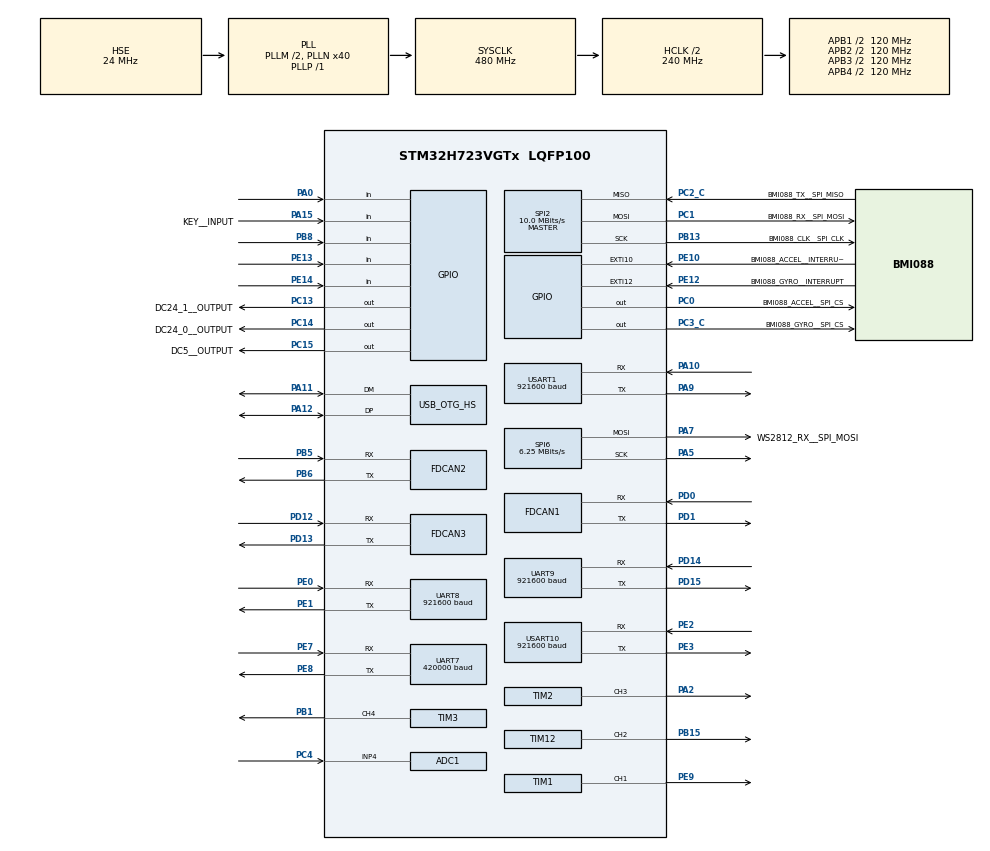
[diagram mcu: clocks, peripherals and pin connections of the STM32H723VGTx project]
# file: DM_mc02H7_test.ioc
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ADC1.Channel-0\#ChannelRegularConversion=ADC_CHANNEL_4
ADC1.NbrOfConversionFlag=1
ADC1.OffsetNumber-0\#ChannelRegularConversion=ADC_OFFSET_NONE
ADC1.OffsetSignedSaturation-0\#ChannelRegularConversion=DISABLE
ADC1.Rank-0\#ChannelRegularConversion=1
ADC1.SamplingTime-0\#ChannelRegularConversion=ADC_SAMPLETIME_1CYCLE_5
ADC1.master=1
CORTEX_M7.CPU_ICache=Enabled
CORTEX_M7.MPU_Control=__NULL
CORTEX_M7.default_mode_Activation=1
Dma.Request0=SPI2_TX
Dma.Request1=SPI2_RX
Dma.Request2=UART7_TX
Dma.Request3=UART7_RX
Dma.Request4=USART1_TX
Dma.Request5=USART10_RX
Dma.Request6=USART10_TX
Dma.Request7=USART1_RX
Dma.Request8=UART8_RX
Dma.Request9=UART9_RX
Dma.SPI2_RX.1.Direction=DMA_PERIPH_TO_MEMORY
Dma.SPI2_RX.1.EventEnable=DISABLE
Dma.SPI2_RX.1.FIFOMode=DMA_FIFOMODE_ENABLE
Dma.SPI2_RX.1.FIFOThreshold=DMA_FIFO_THRESHOLD_FULL
Dma.SPI2_RX.1.Instance=DMA1_Stream1
Dma.SPI2_RX.1.MemBurst=DMA_MBURST_SINGLE
Dma.SPI2_RX.1.MemDataAlignment=DMA_MDATAALIGN_BYTE
Dma.SPI2_RX.1.MemInc=DMA_MINC_ENABLE
Dma.SPI2_RX.1.Mode=DMA_NORMAL
Dma.SPI2_RX.1.PeriphBurst=DMA_PBURST_SINGLE
Dma.SPI2_RX.1.PeriphDataAlignment=DMA_PDATAALIGN_BYTE
Dma.SPI2_RX.1.PeriphInc=DMA_PINC_DISABLE
Dma.SPI2_RX.1.Polarity=HAL_DMAMUX_REQ_GEN_RISING
Dma.SPI2_RX.1.Priority=DMA_PRIORITY_LOW
Dma.SPI2_RX.1.RequestNumber=1
Dma.SPI2_RX.1.SignalID=NONE
Dma.SPI2_RX.1.SyncEnable=DISABLE
Dma.SPI2_RX.1.SyncPolarity=HAL_DMAMUX_SYNC_NO_EVENT
Dma.SPI2_RX.1.SyncRequestNumber=1
Dma.SPI2_RX.1.SyncSignalID=NONE
Dma.SPI2_TX.0.Direction=DMA_MEMORY_TO_PERIPH
Dma.SPI2_TX.0.EventEnable=DISABLE
Dma.SPI2_TX.0.FIFOMode=DMA_FIFOMODE_DISABLE
Dma.SPI2_TX.0.Instance=DMA1_Stream0
Dma.SPI2_TX.0.MemDataAlignment=DMA_MDATAALIGN_BYTE
Dma.SPI2_TX.0.MemInc=DMA_MINC_ENABLE
Dma.SPI2_TX.0.Mode=DMA_NORMAL
Dma.SPI2_TX.0.PeriphDataAlignment=DMA_PDATAALIGN_BYTE
Dma.SPI2_TX.0.PeriphInc=DMA_PINC_DISABLE
Dma.SPI2_TX.0.Polarity=HAL_DMAMUX_REQ_GEN_RISING
Dma.SPI2_TX.0.Priority=DMA_PRIORITY_LOW
Dma.SPI2_TX.0.RequestNumber=1
Dma.SPI2_TX.0.SignalID=NONE
Dma.SPI2_TX.0.SyncEnable=DISABLE
Dma.SPI2_TX.0.SyncPolarity=HAL_DMAMUX_SYNC_NO_EVENT
Dma.SPI2_TX.0.SyncRequestNumber=1
Dma.SPI2_TX.0.SyncSignalID=NONE
Dma.UART7_RX.3.Direction=DMA_PERIPH_TO_MEMORY
Dma.UART7_RX.3.EventEnable=DISABLE
Dma.UART7_RX.3.FIFOMode=DMA_FIFOMODE_DISABLE
Dma.UART7_RX.3.Instance=DMA1_Stream3
Dma.UART7_RX.3.MemDataAlignment=DMA_MDATAALIGN_BYTE
Dma.UART7_RX.3.MemInc=DMA_MINC_ENABLE
Dma.UART7_RX.3.Mode=DMA_NORMAL
Dma.UART7_RX.3.PeriphDataAlignment=DMA_PDATAALIGN_BYTE
Dma.UART7_RX.3.PeriphInc=DMA_PINC_DISABLE
Dma.UART7_RX.3.Polarity=HAL_DMAMUX_REQ_GEN_RISING
Dma.UART7_RX.3.Priority=DMA_PRIORITY_LOW
Dma.UART7_RX.3.RequestNumber=1
Dma.UART7_RX.3.SignalID=NONE
Dma.UART7_RX.3.SyncEnable=DISABLE
Dma.UART7_RX.3.SyncPolarity=HAL_DMAMUX_SYNC_NO_EVENT
Dma.UART7_RX.3.SyncRequestNumber=1
Dma.UART7_RX.3.SyncSignalID=NONE
Dma.UART7_TX.2.Direction=DMA_MEMORY_TO_PERIPH
Dma.UART7_TX.2.EventEnable=DISABLE
Dma.UART7_TX.2.FIFOMode=DMA_FIFOMODE_ENABLE
Dma.UART7_TX.2.FIFOThreshold=DMA_FIFO_THRESHOLD_FULL
Dma.UART7_TX.2.Instance=DMA1_Stream2
Dma.UART7_TX.2.MemBurst=DMA_MBURST_SINGLE
Dma.UART7_TX.2.MemDataAlignment=DMA_MDATAALIGN_BYTE
Dma.UART7_TX.2.MemInc=DMA_MINC_ENABLE
Dma.UART7_TX.2.Mode=DMA_NORMAL
Dma.UART7_TX.2.PeriphBurst=DMA_PBURST_SINGLE
Dma.UART7_TX.2.PeriphDataAlignment=DMA_PDATAALIGN_BYTE
Dma.UART7_TX.2.PeriphInc=DMA_PINC_DISABLE
Dma.UART7_TX.2.Polarity=HAL_DMAMUX_REQ_GEN_RISING
Dma.UART7_TX.2.Priority=DMA_PRIORITY_LOW
Dma.UART7_TX.2.RequestNumber=1
Dma.UART7_TX.2.SignalID=NONE
Dma.UART7_TX.2.SyncEnable=DISABLE
Dma.UART7_TX.2.SyncPolarity=HAL_DMAMUX_SYNC_NO_EVENT
Dma.UART7_TX.2.SyncRequestNumber=1
Dma.UART7_TX.2.SyncSignalID=NONE
Dma.UART8_RX.8.Direction=DMA_PERIPH_TO_MEMORY
Dma.UART8_RX.8.EventEnable=DISABLE
Dma.UART8_RX.8.FIFOMode=DMA_FIFOMODE_DISABLE
Dma.UART8_RX.8.Instance=DMA1_Stream4
Dma.UART8_RX.8.MemDataAlignment=DMA_MDATAALIGN_BYTE
Dma.UART8_RX.8.MemInc=DMA_MINC_ENABLE
Dma.UART8_RX.8.Mode=DMA_NORMAL
Dma.UART8_RX.8.PeriphDataAlignment=DMA_PDATAALIGN_BYTE
Dma.UART8_RX.8.PeriphInc=DMA_PINC_DISABLE
Dma.UART8_RX.8.Polarity=HAL_DMAMUX_REQ_GEN_RISING
Dma.UART8_RX.8.Priority=DMA_PRIORITY_LOW
Dma.UART8_RX.8.RequestNumber=1
Dma.UART8_RX.8.SignalID=NONE
Dma.UART8_RX.8.SyncEnable=DISABLE
Dma.UART8_RX.8.SyncPolarity=HAL_DMAMUX_SYNC_NO_EVENT
Dma.UART8_RX.8.SyncRequestNumber=1
Dma.UART8_RX.8.SyncSignalID=NONE
Dma.UART9_RX.9.Direction=DMA_PERIPH_TO_MEMORY
Dma.UART9_RX.9.EventEnable=DISABLE
Dma.UART9_RX.9.FIFOMode=DMA_FIFOMODE_DISABLE
Dma.UART9_RX.9.Instance=DMA1_Stream5
Dma.UART9_RX.9.MemDataAlignment=DMA_MDATAALIGN_BYTE
Dma.UART9_RX.9.MemInc=DMA_MINC_ENABLE
Dma.UART9_RX.9.Mode=DMA_NORMAL
Dma.UART9_RX.9.PeriphDataAlignment=DMA_PDATAALIGN_BYTE
Dma.UART9_RX.9.PeriphInc=DMA_PINC_DISABLE
Dma.UART9_RX.9.Polarity=HAL_DMAMUX_REQ_GEN_RISING
Dma.UART9_RX.9.Priority=DMA_PRIORITY_LOW
Dma.UART9_RX.9.RequestNumber=1
Dma.UART9_RX.9.SignalID=NONE
Dma.UART9_RX.9.SyncEnable=DISABLE
Dma.UART9_RX.9.SyncPolarity=HAL_DMAMUX_SYNC_NO_EVENT
Dma.UART9_RX.9.SyncRequestNumber=1
Dma.UART9_RX.9.SyncSignalID=NONE
Dma.USART10_RX.5.Direction=DMA_PERIPH_TO_MEMORY
Dma.USART10_RX.5.EventEnable=DISABLE
Dma.USART10_RX.5.FIFOMode=DMA_FIFOMODE_DISABLE
Dma.USART10_RX.5.Instance=DMA2_Stream1
Dma.USART10_RX.5.MemDataAlignment=DMA_MDATAALIGN_BYTE
Dma.USART10_RX.5.MemInc=DMA_MINC_ENABLE
Dma.USART10_RX.5.Mode=DMA_NORMAL
Dma.USART10_RX.5.PeriphDataAlignment=DMA_PDATAALIGN_BYTE
Dma.USART10_RX.5.PeriphInc=DMA_PINC_DISABLE
Dma.USART10_RX.5.Polarity=HAL_DMAMUX_REQ_GEN_RISING
Dma.USART10_RX.5.Priority=DMA_PRIORITY_LOW
Dma.USART10_RX.5.RequestNumber=1
Dma.USART10_RX.5.SignalID=NONE
Dma.USART10_RX.5.SyncEnable=DISABLE
Dma.USART10_RX.5.SyncPolarity=HAL_DMAMUX_SYNC_NO_EVENT
Dma.USART10_RX.5.SyncRequestNumber=1
Dma.USART10_RX.5.SyncSignalID=NONE
Dma.USART10_TX.6.Direction=DMA_MEMORY_TO_PERIPH
Dma.USART10_TX.6.EventEnable=DISABLE
Dma.USART10_TX.6.FIFOMode=DMA_FIFOMODE_DISABLE
Dma.USART10_TX.6.Instance=DMA2_Stream2
Dma.USART10_TX.6.MemDataAlignment=DMA_MDATAALIGN_BYTE
Dma.USART10_TX.6.MemInc=DMA_MINC_ENABLE
Dma.USART10_TX.6.Mode=DMA_NORMAL
Dma.USART10_TX.6.PeriphDataAlignment=DMA_PDATAALIGN_BYTE
Dma.USART10_TX.6.PeriphInc=DMA_PINC_DISABLE
Dma.USART10_TX.6.Polarity=HAL_DMAMUX_REQ_GEN_RISING
Dma.USART10_TX.6.Priority=DMA_PRIORITY_LOW
Dma.USART10_TX.6.RequestNumber=1
Dma.USART10_TX.6.SignalID=NONE
Dma.USART10_TX.6.SyncEnable=DISABLE
Dma.USART10_TX.6.SyncPolarity=HAL_DMAMUX_SYNC_NO_EVENT
Dma.USART10_TX.6.SyncRequestNumber=1
Dma.USART10_TX.6.SyncSignalID=NONE
Dma.USART1_RX.7.Direction=DMA_PERIPH_TO_MEMORY
Dma.USART1_RX.7.EventEnable=DISABLE
Dma.USART1_RX.7.FIFOMode=DMA_FIFOMODE_DISABLE
Dma.USART1_RX.7.Instance=DMA2_Stream5
Dma.USART1_RX.7.MemDataAlignment=DMA_MDATAALIGN_BYTE
Dma.USART1_RX.7.MemInc=DMA_MINC_ENABLE
Dma.USART1_RX.7.Mode=DMA_NORMAL
Dma.USART1_RX.7.PeriphDataAlignment=DMA_PDATAALIGN_BYTE
Dma.USART1_RX.7.PeriphInc=DMA_PINC_DISABLE
Dma.USART1_RX.7.Polarity=HAL_DMAMUX_REQ_GEN_RISING
Dma.USART1_RX.7.Priority=DMA_PRIORITY_LOW
Dma.USART1_RX.7.RequestNumber=1
Dma.USART1_RX.7.SignalID=NONE
Dma.USART1_RX.7.SyncEnable=DISABLE
Dma.USART1_RX.7.SyncPolarity=HAL_DMAMUX_SYNC_NO_EVENT
Dma.USART1_RX.7.SyncRequestNumber=1
Dma.USART1_RX.7.SyncSignalID=NONE
Dma.USART1_TX.4.Direction=DMA_MEMORY_TO_PERIPH
Dma.USART1_TX.4.EventEnable=DISABLE
Dma.USART1_TX.4.FIFOMode=DMA_FIFOMODE_DISABLE
Dma.USART1_TX.4.Instance=DMA1_Stream6
Dma.USART1_TX.4.MemDataAlignment=DMA_MDATAALIGN_BYTE
Dma.USART1_TX.4.MemInc=DMA_MINC_ENABLE
Dma.USART1_TX.4.Mode=DMA_NORMAL
Dma.USART1_TX.4.PeriphDataAlignment=DMA_PDATAALIGN_BYTE
Dma.USART1_TX.4.PeriphInc=DMA_PINC_DISABLE
Dma.USART1_TX.4.Polarity=HAL_DMAMUX_REQ_GEN_RISING
Dma.USART1_TX.4.Priority=DMA_PRIORITY_MEDIUM
Dma.USART1_TX.4.RequestNumber=1
Dma.USART1_TX.4.SignalID=NONE
Dma.USART1_TX.4.SyncEnable=DISABLE
Dma.USART1_TX.4.SyncPolarity=HAL_DMAMUX_SYNC_NO_EVENT
Dma.USART1_TX.4.SyncRequestNumber=1
Dma.USART1_TX.4.SyncSignalID=NONE
FDCAN1.AutoRetransmission=ENABLE
FDCAN1.CalculateBaudRateNominal=1000000
FDCAN1.CalculateTimeBitNominal=1000
FDCAN1.CalculateTimeQuantumNominal=25.0
FDCAN1.DataPrescaler=3
FDCAN1.DataSyncJumpWidth=10
FDCAN1.DataTimeSeg1=29
FDCAN1.DataTimeSeg2=10
FDCAN1.NominalPrescaler=3
FDCAN1.NominalSyncJumpWidth=10
FDCAN1.NominalTimeSeg1=29
FDCAN1.NominalTimeSeg2=10
FDCAN1.RxFifo0ElmtsNbr=16
FDCAN1.StdFiltersNbr=1
FDCAN1.TxFifoQueueElmtsNbr=8
FDCAN2.AutoRetransmission=ENABLE
FDCAN2.CalculateBaudRateNominal=1000000
FDCAN2.CalculateTimeBitNominal=1000
FDCAN2.CalculateTimeQuantumNominal=25.0
FDCAN2.DataPrescaler=3
FDCAN2.DataSyncJumpWidth=10
FDCAN2.DataTimeSeg1=29
FDCAN2.DataTimeSeg2=10
FDCAN2.MessageRAMOffset=853
FDCAN2.NominalPrescaler=3
FDCAN2.NominalSyncJumpWidth=10
FDCAN2.NominalTimeSeg1=29
FDCAN2.NominalTimeSeg2=10
FDCAN2.RxFifo0ElmtsNbr=16
FDCAN2.StdFiltersNbr=1
FDCAN2.TxFifoQueueElmtsNbr=8
FDCAN3.AutoRetransmission=ENABLE
FDCAN3.CalculateBaudRateNominal=1000000
FDCAN3.CalculateTimeBitNominal=1000
FDCAN3.CalculateTimeQuantumNominal=25.0
FDCAN3.DataPrescaler=3
FDCAN3.DataSyncJumpWidth=10
FDCAN3.DataTimeSeg1=29
FDCAN3.DataTimeSeg2=10
FDCAN3.MessageRAMOffset=853
FDCAN3.NominalPrescaler=3
FDCAN3.NominalSyncJumpWidth=10
FDCAN3.NominalTimeSeg1=29
FDCAN3.NominalTimeSeg2=10
FDCAN3.RxFifo0ElmtsNbr=16
FDCAN3.StdFiltersNbr=1
FDCAN3.TxFifoQueueElmtsNbr=8
FREERTOS.Tasks01=defaultTask,24,128,StartDefaultTask,Default,NULL,Dynamic,NULL,NULL;timestamp_test_,24,1024,Timestamp_fuc,As weak,NULL,Dynamic,NULL,NULL;Music_Task,8,128,MusicTask_func,As weak,NULL,Dynamic,NULL,NULL;DMControlTask,48,256,DMsetOutput,As weak,NULL,Dynamic,NULL,NULL;Remote_Task,24,256,tele_task,As weak,NULL,Dynamic,NULL,NULL;Chassis_Control,24,256,Chassis_Task,As weak,NULL,Dynamic,NULL,NULL;LiftControl_Tas,24,256,Lift_Task,As weak,NULL,Dynamic,NULL,NULL;ArmControl_Task,24,256,Arm_Task,As weak,NULL,Dynamic,NULL,NULL;Position_Task,16,128,Position_Control,As weak,NULL,Dynamic,NULL,NULL
Mcu.Family=STM32H7
Mcu.Name=STM32H723VGTx
Mcu.Package=LQFP100
NVIC.DMA1_Stream0_IRQn=true\:5\:0\:false\:false\:true\:true\:false\:true\:true
NVIC.DMA1_Stream1_IRQn=true\:5\:0\:false\:false\:true\:true\:false\:true\:true
NVIC.DMA1_Stream2_IRQn=true\:5\:0\:false\:false\:true\:true\:false\:true\:true
NVIC.DMA1_Stream3_IRQn=true\:5\:0\:false\:false\:true\:true\:false\:true\:true
NVIC.DMA1_Stream4_IRQn=true\:5\:0\:false\:false\:true\:true\:false\:true\:true
NVIC.DMA1_Stream5_IRQn=true\:5\:0\:false\:false\:true\:true\:false\:true\:true
NVIC.DMA1_Stream6_IRQn=true\:5\:0\:false\:false\:true\:false\:false\:true\:true
NVIC.DMA2_Stream1_IRQn=true\:5\:0\:false\:false\:true\:false\:false\:true\:true
NVIC.DMA2_Stream2_IRQn=true\:5\:0\:false\:false\:true\:false\:false\:true\:true
NVIC.DMA2_Stream5_IRQn=true\:5\:0\:false\:false\:true\:false\:false\:true\:true
NVIC.FDCAN1_IT0_IRQn=true\:5\:0\:false\:false\:true\:true\:true\:true\:true
NVIC.FDCAN1_IT1_IRQn=true\:5\:0\:false\:false\:true\:true\:true\:true\:true
NVIC.FDCAN2_IT0_IRQn=true\:5\:0\:false\:false\:true\:true\:true\:true\:true
NVIC.FDCAN2_IT1_IRQn=true\:5\:0\:false\:false\:true\:true\:true\:true\:true
NVIC.FDCAN3_IT0_IRQn=true\:5\:0\:false\:false\:true\:true\:true\:true\:true
NVIC.FDCAN3_IT1_IRQn=true\:5\:0\:false\:false\:true\:true\:true\:true\:true
NVIC.OTG_HS_IRQn=true\:5\:0\:false\:false\:true\:true\:true\:true\:true
NVIC.PriorityGroup=NVIC_PRIORITYGROUP_4
NVIC.SPI2_IRQn=true\:5\:0\:false\:false\:true\:true\:false\:true\:true
NVIC.TIM4_IRQn=true\:15\:0\:false\:false\:true\:false\:false\:true\:true
NVIC.TIM5_IRQn=true\:5\:0\:false\:false\:true\:true\:true\:true\:true
NVIC.TIM7_IRQn=true\:5\:0\:false\:false\:true\:true\:true\:true\:true
NVIC.TimeBase=TIM4_IRQn
NVIC.TimeBaseIP=TIM4
NVIC.UART7_IRQn=true\:5\:0\:false\:false\:true\:true\:true\:true\:true
NVIC.UART8_IRQn=true\:5\:0\:false\:false\:true\:true\:true\:true\:true
NVIC.UART9_IRQn=true\:5\:0\:false\:false\:true\:true\:true\:true\:true
NVIC.USART10_IRQn=true\:5\:0\:false\:false\:true\:true\:true\:true\:true
NVIC.USART1_IRQn=true\:5\:0\:false\:false\:true\:true\:true\:true\:true
PA0.Signal=GPIO_Input
PA10.Mode=Asynchronous
PA10.Signal=USART1_RX
PA11.Mode=Device_Only_FS
PA11.Signal=USB_OTG_HS_DM
PA12.Mode=Device_Only_FS
PA12.Signal=USB_OTG_HS_DP
PA13(JTMS/SWDIO).Mode=Serial_Wire
PA13(JTMS/SWDIO).Signal=DEBUG_JTMS-SWDIO
PA14(JTCK/SWCLK).Mode=Serial_Wire
PA14(JTCK/SWCLK).Signal=DEBUG_JTCK-SWCLK
PA15(JTDI).GPIO_Label=KEY__INPUT
PA15(JTDI).Signal=GPIO_Input
PA2.Signal=S_TIM2_CH3
PA5.GPIO_Mode=GPIO_MODE_AF_PP
PA5.GPIO_PuPd=GPIO_NOPULL
PA5.GPIO_Speed=GPIO_SPEED_FREQ_VERY_HIGH
PA5.Mode=TX_Only_Simplex_Unidirect_Master
PA5.Signal=SPI6_SCK
PA7.GPIO_Label=WS2812_RX__SPI_MOSI
PA7.GPIO_Mode=GPIO_MODE_AF_PP
PA7.GPIO_PuPd=GPIO_NOPULL
PA7.GPIO_Speed=GPIO_SPEED_FREQ_VERY_HIGH
PA7.Mode=TX_Only_Simplex_Unidirect_Master
PA7.Signal=SPI6_MOSI
PA9.Mode=Asynchronous
PA9.Signal=USART1_TX
PB1.Signal=S_TIM3_CH4
PB13.GPIO_Label=BMI088_CLK__SPI_CLK
PB13.GPIO_Speed=GPIO_SPEED_FREQ_VERY_HIGH
PB13.Mode=Full_Duplex_Master
PB13.Signal=SPI2_SCK
PB15.Signal=S_TIM12_CH2
PB5.Mode=FDCAN_Activate
PB5.Signal=FDCAN2_RX
PB6.Mode=FDCAN_Activate
PB6.Signal=FDCAN2_TX
PB8.Signal=GPIO_Input
PC0.GPIO_Label=BMI088_ACCEL__SPI_CS
PC0.GPIO_Speed=GPIO_SPEED_FREQ_VERY_HIGH
PC0.PinState=GPIO_PIN_SET
PC0.Signal=GPIO_Output
PC1.GPIO_Label=BMI088_RX__SPI_MOSI
PC1.GPIO_Speed=GPIO_SPEED_FREQ_VERY_HIGH
PC1.Mode=Full_Duplex_Master
PC1.Signal=SPI2_MOSI
PC13.GPIO_Label=DC24_1__OUTPUT
PC13.Signal=GPIO_Output
PC14-OSC32_IN.GPIO_Label=DC24_0__OUTPUT
PC14-OSC32_IN.Signal=GPIO_Output
PC15-OSC32_OUT.GPIO_Label=DC5__OUTPUT
PC15-OSC32_OUT.Signal=GPIO_Output
PC2_C.GPIO_Label=BMI088_TX__SPI_MISO
PC2_C.GPIO_Speed=GPIO_SPEED_FREQ_VERY_HIGH
PC2_C.Mode=Full_Duplex_Master
PC2_C.Signal=SPI2_MISO
PC3_C.GPIO_Label=BMI088_GYRO__SPI_CS
PC3_C.GPIO_Speed=GPIO_SPEED_FREQ_VERY_HIGH
PC3_C.PinState=GPIO_PIN_SET
PC3_C.Signal=GPIO_Output
PC4.Signal=ADCx_INP4
PD0.Mode=FDCAN_Activate
PD0.Signal=FDCAN1_RX
PD1.Mode=FDCAN_Activate
PD1.Signal=FDCAN1_TX
PD12.Mode=FDCAN_Activate
PD12.Signal=FDCAN3_RX
PD13.Mode=FDCAN_Activate
PD13.Signal=FDCAN3_TX
PD14.Mode=Asynchronous
PD14.Signal=UART9_RX
PD15.Mode=Asynchronous
PD15.Signal=UART9_TX
PE0.Mode=Asynchronous
PE0.Signal=UART8_RX
PE1.Mode=Asynchronous
PE1.Signal=UART8_TX
PE10.GPIO_Label=BMI088_ACCEL__INTERRUPT
PE10.Signal=GPXTI10
PE12.GPIO_Label=BMI088_GYRO__INTERRUPT
PE12.Signal=GPXTI12
PE13.GPIO_PuPd=GPIO_NOPULL
PE13.Signal=GPIO_Input
PE14.Signal=GPIO_Input
PE2.Mode=Asynchronous
PE2.Signal=USART10_RX
PE3.Mode=Asynchronous
PE3.Signal=USART10_TX
PE7.GPIO_PuPd=GPIO_PULLUP
PE7.Mode=Asynchronous
PE7.Signal=UART7_RX
PE8.GPIO_PuPd=GPIO_PULLUP
PE8.Mode=Asynchronous
PE8.Signal=UART7_TX
PE9.Signal=S_TIM1_CH1
PH0-OSC_IN.Mode=HSE-External-Oscillator
PH0-OSC_IN.Signal=RCC_OSC_IN
PH1-OSC_OUT.Mode=HSE-External-Oscillator
PH1-OSC_OUT.Signal=RCC_OSC_OUT
ProjectManager.HeapSize=0x2000
ProjectManager.StackSize=0x4000
ProjectManager.TargetToolchain=Makefile
RCC.ADCCLockSelection=RCC_ADCCLKSOURCE_CLKP
RCC.ADCFreq_Value=24000000
RCC.APB1Freq_Value=120000000
RCC.APB2Freq_Value=120000000
RCC.APB3Freq_Value=120000000
RCC.APB4Freq_Value=120000000
RCC.CKPERSourceSelection=RCC_CLKPSOURCE_HSE
RCC.CortexFreq_Value=480000000
RCC.D1PPRE=RCC_APB3_DIV2
RCC.D2PPRE1=RCC_APB1_DIV2
RCC.D2PPRE2=RCC_APB2_DIV2
RCC.D3PPRE=RCC_APB4_DIV2
RCC.DIVM1=2
RCC.DIVM2=12
RCC.DIVM3=24
RCC.DIVN1=40
RCC.DIVN2=100
RCC.DIVN3=160
RCC.DIVP1=1
RCC.DIVQ1=4
RCC.DIVQ2=4
RCC.HCLKFreq_Value=240000000
RCC.HPRE=RCC_HCLK_DIV2
RCC.HSE_VALUE=24000000
RCC.PLLFRACN=0
RCC.PLLSourceVirtual=RCC_PLLSOURCE_HSE
RCC.SPI123CLockSelection=RCC_SPI123CLKSOURCE_PLL3
RCC.SPI6CLockSelection=RCC_SPI6CLKSOURCE_PLL2
RCC.SYSCLKFreq_VALUE=480000000
RCC.SYSCLKSource=RCC_SYSCLKSOURCE_PLLCLK
RCC.USBCLockSelection=RCC_USBCLKSOURCE_HSI48
RCC.USBFreq_Value=48000000
SH.ADCx_INP4.0=ADC1_INP4,IN4-Single-Ended
SH.S_TIM12_CH2.0=TIM12_CH2,PWM Generation2 CH2
SH.S_TIM1_CH1.0=TIM1_CH1,PWM Generation1 CH1
SH.S_TIM2_CH3.0=TIM2_CH3,PWM Generation3 CH3
SH.S_TIM3_CH4.0=TIM3_CH4,PWM Generation4 CH4
SPI2.BaudRatePrescaler=SPI_BAUDRATEPRESCALER_8
SPI2.CLKPhase=SPI_PHASE_2EDGE
SPI2.CLKPolarity=SPI_POLARITY_HIGH
SPI2.CalculateBaudRate=10.0 MBits/s
SPI2.DataSize=SPI_DATASIZE_8BIT
SPI2.Direction=SPI_DIRECTION_2LINES
SPI2.Mode=SPI_MODE_MASTER
SPI2.VirtualType=VM_MASTER
SPI6.BaudRatePrescaler=SPI_BAUDRATEPRESCALER_8
SPI6.CalculateBaudRate=6.25 MBits/s
SPI6.DataSize=SPI_DATASIZE_8BIT
SPI6.Direction=SPI_DIRECTION_2LINES_TXONLY
SPI6.Mode=SPI_MODE_MASTER
SPI6.VirtualType=VM_MASTER
STMicroelectronics.X-CUBE-ALGOBUILD.1.4.0.LibraryCcDSPOoLibraryJjDSPOoLibrary=true
TIM1.AutoReloadPreload=TIM_AUTORELOAD_PRELOAD_ENABLE
TIM1.Channel-PWM\ Generation1\ CH1=TIM_CHANNEL_1
TIM1.Period=1999
TIM1.Prescaler=2399
TIM12.Channel-PWM\ Generation2\ CH2=TIM_CHANNEL_2
TIM12.OC2Preload_PWM=DISABLE
TIM12.Period=250-1
TIM12.Prescaler=240-1
TIM2.AutoReloadPreload=TIM_AUTORELOAD_PRELOAD_ENABLE
TIM2.Channel-PWM\ Generation3\ CH3=TIM_CHANNEL_3
TIM2.Period=19999
TIM2.Prescaler=2399
TIM3.Channel-PWM\ Generation4\ CH4=TIM_CHANNEL_4
TIM3.Period=10000-1
TIM3.Prescaler=240-1
TIM5.Period=3600000000-1
TIM5.Prescaler=240-1
TIM7.Period=1000-1
TIM7.Prescaler=240-1
UART7.BaudRate=420000
UART8.BaudRate=921600
UART9.BaudRate=921600
USART1.BaudRate=921600
USART1.FIFOMode=FIFOMODE_DISABLE
USART1.VirtualMode-Asynchronous=VM_ASYNC
USART10.BaudRate=921600
USART10.VirtualMode=VM_ASYNC
USB_DEVICE.CLASS_NAME_HS=CDC
USB_DEVICE.VirtualMode=Cdc
USB_DEVICE.VirtualModeHS=Cdc_HS
USB_OTG_HS.VirtualMode-Device_Only_FS=Device_Only_FS
VP_CORDIC_VS_CORDIC.Mode=CORDIC_Activate
VP_FREERTOS_VS_CMSIS_V2.Mode=CMSIS_V2
VP_MEMORYMAP_VS_MEMORYMAP.Mode=CurAppReg
VP_STMicroelectronics.X-CUBE-ALGOBUILD_VS_DSPOoLibraryJjLibrary_1.4.0_1.4.0.Mode=DSPOoLibraryJjLibrary
VP_SYS_VS_tim4.Mode=TIM4
VP_TIM1_VS_ClockSourceINT.Mode=Internal
VP_TIM5_VS_ClockSourceINT.Mode=Internal
VP_TIM7_VS_ClockSourceINT.Mode=Enable_Timer
VP_USB_DEVICE_VS_USB_DEVICE_CDC_HS.Mode=CDC_HS
board=custom

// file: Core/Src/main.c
/* USER CODE BEGIN Header */
/**
  ******************************************************************************
  * @file           : main.c
  * @brief          : Main program body
  ******************************************************************************
  * @attention
  *
  * Copyright (c) 2026 STMicroelectronics.
  * All rights reserved.
  *
  * This software is licensed under terms that can be found in the LICENSE file
  * in the root directory of this software component.
  * If no LICENSE file comes with this software, it is provided AS-IS.
  *
  ******************************************************************************
  */
/* USER CODE END Header */
#include "main.h"
#include "FreeRTOS.h"
#include "cmsis_os2.h"
#include "adc.h"
#include "cordic.h"
#include "dma.h"
#include "fdcan.h"
#include "spi.h"
#include "tim.h"
#include "usart.h"
#include "usb_device.h"
#include "gpio.h"

/* USER CODE BEGIN Includes */
#include "drv_uart.h"
#include "sys_timestamp.h"
#include "task_config_and_callback.h"
#include "bsp_ws2812.h"
#include "usbd_cdc_if.h"

/* USER CODE END Includes */

void SystemClock_Config(void);
void PeriphCommonClock_Config(void);
void MX_FREERTOS_Init(void);

int main(void)
{

  /* Enable the CPU Cache */

  /* Enable I-Cache---------------------------------------------------------*/
  SCB_EnableICache();

  /* MCU Configuration--------------------------------------------------------*/

  /* Reset of all peripherals, Initializes the Flash interface and the Systick. */
  HAL_Init();

  /* Configure the system clock */
  SystemClock_Config();

  /* Configure the peripherals common clocks */
  PeriphCommonClock_Config();

  /* Initialize all configured peripherals */
  MX_GPIO_Init();
  MX_DMA_Init();
  MX_CORDIC_Init();
  MX_FDCAN1_Init();
  MX_SPI2_Init();
  MX_UART7_Init();
  MX_TIM5_Init();
  MX_TIM12_Init();
  MX_SPI6_Init();
  MX_TIM7_Init();
  MX_FDCAN2_Init();
  MX_FDCAN3_Init();
  MX_USART1_UART_Init();
  MX_ADC1_Init();
  MX_USART10_UART_Init();
  MX_TIM3_Init();
  MX_TIM1_Init();
  MX_TIM2_Init();
  MX_UART8_Init();
  MX_UART9_Init();
  /* USER CODE BEGIN 2 */
  Task_Init();

  /* USER CODE END 2 */

  /* Init scheduler */
  osKernelInitialize();  /* Call init function for freertos objects (in cmsis_os2.c) */
  MX_FREERTOS_Init();

  /* Start scheduler */
  osKernelStart();

  /* We should never get here as control is now taken by the scheduler */

  /* Infinite loop */
  while (1)
  {

  }
}

void SystemClock_Config(void)
{
  RCC_OscInitTypeDef RCC_OscInitStruct = {0};
  RCC_ClkInitTypeDef RCC_ClkInitStruct = {0};

  /** Supply configuration update enable
  */
  HAL_PWREx_ConfigSupply(PWR_LDO_SUPPLY);

  /** Configure the main internal regulator output voltage
  */
  __HAL_PWR_VOLTAGESCALING_CONFIG(PWR_REGULATOR_VOLTAGE_SCALE0);

  while(!__HAL_PWR_GET_FLAG(PWR_FLAG_VOSRDY)) {}

  /** Initializes the RCC Oscillators according to the specified parameters
  * in the RCC_OscInitTypeDef structure.
  */
  RCC_OscInitStruct.OscillatorType = RCC_OSCILLATORTYPE_HSI48|RCC_OSCILLATORTYPE_HSE;
  RCC_OscInitStruct.HSEState = RCC_HSE_ON;
  RCC_OscInitStruct.HSI48State = RCC_HSI48_ON;
  RCC_OscInitStruct.PLL.PLLState = RCC_PLL_ON;
  RCC_OscInitStruct.PLL.PLLSource = RCC_PLLSOURCE_HSE;
  RCC_OscInitStruct.PLL.PLLM = 2;
  RCC_OscInitStruct.PLL.PLLN = 40;
  RCC_OscInitStruct.PLL.PLLP = 1;
  RCC_OscInitStruct.PLL.PLLQ = 4;
  RCC_OscInitStruct.PLL.PLLR = 2;
  RCC_OscInitStruct.PLL.PLLRGE = RCC_PLL1VCIRANGE_3;
  RCC_OscInitStruct.PLL.PLLVCOSEL = RCC_PLL1VCOWIDE;
  RCC_OscInitStruct.PLL.PLLFRACN = 0;
  if (HAL_RCC_OscConfig(&RCC_OscInitStruct) != HAL_OK)
  {
    Error_Handler();
  }

  /** Initializes the CPU, AHB and APB buses clocks
  */
  RCC_ClkInitStruct.ClockType = RCC_CLOCKTYPE_HCLK|RCC_CLOCKTYPE_SYSCLK
                              |RCC_CLOCKTYPE_PCLK1|RCC_CLOCKTYPE_PCLK2
                              |RCC_CLOCKTYPE_D3PCLK1|RCC_CLOCKTYPE_D1PCLK1;
  RCC_ClkInitStruct.SYSCLKSource = RCC_SYSCLKSOURCE_PLLCLK;
  RCC_ClkInitStruct.SYSCLKDivider = RCC_SYSCLK_DIV1;
  RCC_ClkInitStruct.AHBCLKDivider = RCC_HCLK_DIV2;
  RCC_ClkInitStruct.APB3CLKDivider = RCC_APB3_DIV2;
  RCC_ClkInitStruct.APB1CLKDivider = RCC_APB1_DIV2;
  RCC_ClkInitStruct.APB2CLKDivider = RCC_APB2_DIV2;
  RCC_ClkInitStruct.APB4CLKDivider = RCC_APB4_DIV2;

  if (HAL_RCC_ClockConfig(&RCC_ClkInitStruct, FLASH_LATENCY_3) != HAL_OK)
  {
    Error_Handler();
  }
}

void PeriphCommonClock_Config(void)
{
  RCC_PeriphCLKInitTypeDef PeriphClkInitStruct = {0};

  /** Initializes the peripherals clock
  */
  PeriphClkInitStruct.PeriphClockSelection = RCC_PERIPHCLK_CKPER;
  PeriphClkInitStruct.CkperClockSelection = RCC_CLKPSOURCE_HSE;
  if (HAL_RCCEx_PeriphCLKConfig(&PeriphClkInitStruct) != HAL_OK)
  {
    Error_Handler();
  }
}

void HAL_TIM_PeriodElapsedCallback(TIM_HandleTypeDef *htim)
{
  if (htim->Instance == TIM4)
  {
    HAL_IncTick();
  }
  /* USER CODE BEGIN Callback 1 */
  if(!init_finished)
  {
    return;
  }
  // 选择回调函数
  // 一小时回调函数
  if(htim->Instance == TIM5)
  {
    Task3600s_Callback();
  }
  // 1ms回调函数
  if(htim->Instance == TIM7)
  {
    Task1ms_Callback();
  }
  /* USER CODE END Callback 1 */
}

void Error_Handler(void)
{
  __disable_irq();
  while (1)
  {
  }
}

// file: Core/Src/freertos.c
/* USER CODE BEGIN Header */
/**
  ******************************************************************************
  * File Name          : freertos.c
  * Description        : Code for freertos applications
  ******************************************************************************
  * @attention
  *
  * Copyright (c) 2026 STMicroelectronics.
  * All rights reserved.
  *
  * This software is licensed under terms that can be found in the LICENSE file
  * in the root directory of this software component.
  * If no LICENSE file comes with this software, it is provided AS-IS.
  *
  ******************************************************************************
  */
/* USER CODE END Header */

#include "FreeRTOS.h"
#include "task.h"
#include "main.h"
#include "FreeRTOS.h"
#include "cmsis_os2.h"

/* USER CODE BEGIN Includes */
#include <string.h>
#include "drv_can.h"
#include "buzzer_music.h"
/* USER CODE END Includes */

/* Definitions for defaultTask */
osThreadId_t defaultTaskHandle;
const osThreadAttr_t defaultTask_attributes = {
  .name = "defaultTask",
  .stack_size = 128 * 4,
  .priority = (osPriority_t) osPriorityNormal,
};
/* Definitions for timestamp_test_ */
osThreadId_t timestamp_test_Handle;
const osThreadAttr_t timestamp_test__attributes = {
  .name = "timestamp_test_",
  .stack_size = 1024 * 4,
  .priority = (osPriority_t) osPriorityNormal,
};
/* Definitions for Music_Task */
osThreadId_t Music_TaskHandle;
const osThreadAttr_t Music_Task_attributes = {
  .name = "Music_Task",
  .stack_size = 128 * 4,
  .priority = (osPriority_t) osPriorityLow,
};
/* Definitions for DMControlTask */
osThreadId_t DMControlTaskHandle;
const osThreadAttr_t DMControlTask_attributes = {
  .name = "DMControlTask",
  .stack_size = 256 * 4,
  .priority = (osPriority_t) osPriorityRealtime,
};
/* Definitions for Remote_Task */
osThreadId_t Remote_TaskHandle;
const osThreadAttr_t Remote_Task_attributes = {
  .name = "Remote_Task",
  .stack_size = 256 * 4,
  .priority = (osPriority_t) osPriorityNormal,
};
/* Definitions for Chassis_Control */
osThreadId_t Chassis_ControlHandle;
const osThreadAttr_t Chassis_Control_attributes = {
  .name = "Chassis_Control",
  .stack_size = 256 * 4,
  .priority = (osPriority_t) osPriorityNormal,
};
/* Definitions for LiftControl_Tas */
osThreadId_t LiftControl_TasHandle;
const osThreadAttr_t LiftControl_Tas_attributes = {
  .name = "LiftControl_Tas",
  .stack_size = 256 * 4,
  .priority = (osPriority_t) osPriorityNormal,
};
/* Definitions for ArmControl_Task */
osThreadId_t ArmControl_TaskHandle;
const osThreadAttr_t ArmControl_Task_attributes = {
  .name = "ArmControl_Task",
  .stack_size = 256 * 4,
  .priority = (osPriority_t) osPriorityNormal,
};
/* Definitions for Position_Task */
osThreadId_t Position_TaskHandle;
const osThreadAttr_t Position_Task_attributes = {
  .name = "Position_Task",
  .stack_size = 128 * 4,
  .priority = (osPriority_t) osPriorityBelowNormal,
};

void StartDefaultTask(void *argument);
void Timestamp_fuc(void *argument);
void MusicTask_func(void *argument);
void DMsetOutput(void *argument);
void tele_task(void *argument);
void Chassis_Task(void *argument);
void Lift_Task(void *argument);
void Arm_Task(void *argument);
void Position_Control(void *argument);

extern void MX_USB_DEVICE_Init(void);
void MX_FREERTOS_Init(void); /* (MISRA C 2004 rule 8.1) */

void MX_FREERTOS_Init(void) {

  /* Create the thread(s) */
  /* creation of defaultTask */
  defaultTaskHandle = osThreadNew(StartDefaultTask, NULL, &defaultTask_attributes);

  /* creation of timestamp_test_ */
  timestamp_test_Handle = osThreadNew(Timestamp_fuc, NULL, &timestamp_test__attributes);

  /* creation of Music_Task */
  Music_TaskHandle = osThreadNew(MusicTask_func, NULL, &Music_Task_attributes);

  /* creation of DMControlTask */
  DMControlTaskHandle = osThreadNew(DMsetOutput, NULL, &DMControlTask_attributes);

  /* creation of Remote_Task */
  Remote_TaskHandle = osThreadNew(tele_task, NULL, &Remote_Task_attributes);

  /* creation of Chassis_Control */
  Chassis_ControlHandle = osThreadNew(Chassis_Task, NULL, &Chassis_Control_attributes);

  /* creation of LiftControl_Tas */
  LiftControl_TasHandle = osThreadNew(Lift_Task, NULL, &LiftControl_Tas_attributes);

  /* creation of ArmControl_Task */
  ArmControl_TaskHandle = osThreadNew(Arm_Task, NULL, &ArmControl_Task_attributes);

  /* creation of Position_Task */
  Position_TaskHandle = osThreadNew(Position_Control, NULL, &Position_Task_attributes);

}

void StartDefaultTask(void *argument)
{
  /* init code for USB_DEVICE */
  MX_USB_DEVICE_Init();
  for(;;)
  {
    osDelay(1);
  }
}

__weak void Timestamp_fuc(void *argument)
{
  for(;;)
  {
    osDelay(1);
  }
}

__weak void MusicTask_func(void *argument)
{
  for(;;)
  {
    osDelay(1);
  }
}

__weak void DMsetOutput(void *argument)
{
  for(;;)
  {
    osDelay(1);
  }
}

__weak void tele_task(void *argument)
{
  for(;;)
  {
    osDelay(1);
  }
}

__weak void Chassis_Task(void *argument)
{
  for(;;)
  {
    osDelay(1);
  }
}

__weak void Lift_Task(void *argument)
{
  for(;;)
  {
    osDelay(1);
  }
}

__weak void Arm_Task(void *argument)
{
  for(;;)
  {
    osDelay(1);
  }
}

__weak void Position_Control(void *argument)
{
  for(;;)
  {
    osDelay(1);
  }
}

/* USER CODE BEGIN Application */

/* 栈溢出钩子：开启 configCHECK_FOR_STACK_OVERFLOW=2 后触发 */
void vApplicationStackOverflowHook(TaskHandle_t xTask, char *pcTaskName)
{
    while (1)
    {
        __asm("BKPT #0");
    }
}

void vApplicationMallocFailedHook(void)
{
    memset(CAN1_0x200_Tx_Data, 0, 8);
    memset(CAN3_0x1ff_Tx_Data, 0, 8);

    while (1)
    {
        memset(CAN1_0x200_Tx_Data, 0, 8);
        CAN_Transmit_Data(&hfdcan1,0x200,CAN1_0x200_Tx_Data,8);
        Buzzer_Play_Once_NonBlocking(BUZZER_FREQUENCY_F3, 1.0f, 80);
        __asm("BKPT #0");
    }
}

/* USER CODE END Application */
